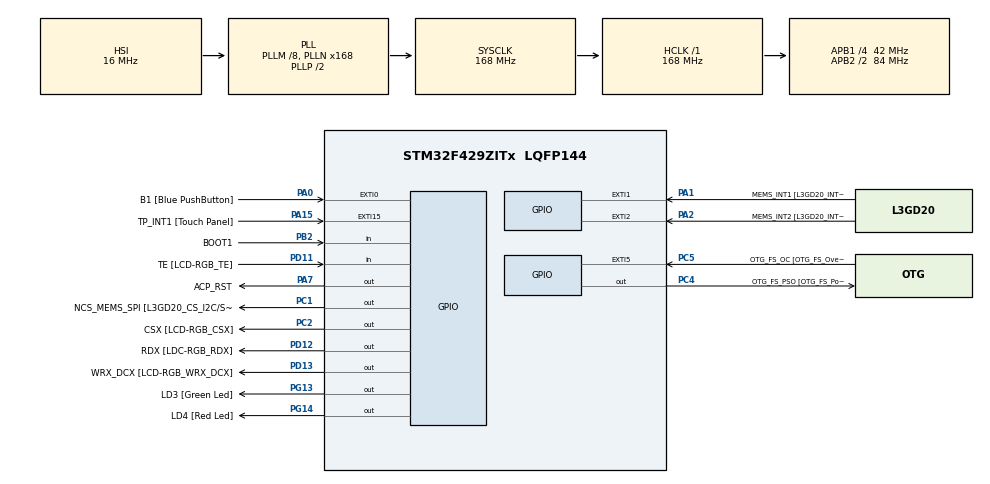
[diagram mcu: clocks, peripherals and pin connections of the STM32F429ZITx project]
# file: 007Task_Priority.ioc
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Mcu.Family=STM32F4
Mcu.Name=STM32F429ZITx
Mcu.Package=LQFP144
NVIC.EXTI0_IRQn=true\:6\:0\:true\:false\:true\:true\:true\:true
NVIC.PriorityGroup=NVIC_PRIORITYGROUP_4
NVIC.TIM6_DAC_IRQn=true\:15\:0\:false\:false\:true\:false\:true\:true
NVIC.TimeBase=TIM6_DAC_IRQn
NVIC.TimeBaseIP=TIM6
PA0/WKUP.GPIO_Label=B1 [Blue PushButton]
PA0/WKUP.GPIO_ModeDefaultEXTI=GPIO_MODE_IT_RISING
PA0/WKUP.GPIO_PuPd=GPIO_NOPULL
PA0/WKUP.Signal=GPXTI0
PA1.GPIO_Label=MEMS_INT1 [L3GD20_INT1]
PA1.GPIO_ModeDefaultEXTI=GPIO_MODE_EVT_RISING
PA1.GPIO_PuPd=GPIO_NOPULL
PA1.Signal=GPXTI1
PA10.GPIO_Label=STLINK_TX [STM32F103CBT6_PA2]
PA10.Signal=USART1_RX
PA11.GPIO_Label=R4
PA11.GPIO_Mode=GPIO_MODE_AF_PP
PA11.GPIO_PuPd=GPIO_NOPULL
PA11.GPIO_Speed=GPIO_SPEED_FREQ_LOW
PA11.Signal=LTDC_R4
PA12.GPIO_Label=R5
PA12.GPIO_Mode=GPIO_MODE_AF_PP
PA12.GPIO_PuPd=GPIO_NOPULL
PA12.GPIO_Speed=GPIO_SPEED_FREQ_LOW
PA12.Signal=LTDC_R5
PA13.GPIO_Label=SWDIO
PA13.Signal=SYS_JTMS-SWDIO
PA14.GPIO_Label=SWCLK
PA14.Signal=SYS_JTCK-SWCLK
PA15.GPIO_Label=TP_INT1 [Touch Panel]
PA15.GPIO_ModeDefaultEXTI=GPIO_MODE_EVT_RISING
PA15.GPIO_PuPd=GPIO_NOPULL
PA15.Signal=GPXTI15
PA2.GPIO_Label=MEMS_INT2 [L3GD20_INT2]
PA2.GPIO_ModeDefaultEXTI=GPIO_MODE_EVT_RISING
PA2.GPIO_PuPd=GPIO_NOPULL
PA2.Signal=GPXTI2
PA3.GPIO_Label=B5
PA3.GPIO_Mode=GPIO_MODE_AF_PP
PA3.GPIO_PuPd=GPIO_NOPULL
PA3.GPIO_Speed=GPIO_SPEED_FREQ_LOW
PA3.Signal=LTDC_B5
PA4.GPIO_Label=VSYNC
PA4.GPIO_Mode=GPIO_MODE_AF_PP
PA4.GPIO_PuPd=GPIO_NOPULL
PA4.GPIO_Speed=GPIO_SPEED_FREQ_LOW
PA4.Signal=LTDC_VSYNC
PA6.GPIO_Label=G2
PA6.GPIO_Mode=GPIO_MODE_AF_PP
PA6.GPIO_PuPd=GPIO_NOPULL
PA6.GPIO_Speed=GPIO_SPEED_FREQ_LOW
PA6.Signal=LTDC_G2
PA7.GPIO_Label=ACP_RST
PA7.GPIO_Mode=GPIO_MODE_OUTPUT_PP
PA7.GPIO_PuPd=GPIO_NOPULL
PA7.GPIO_Speed=GPIO_SPEED_FREQ_LOW
PA7.Signal=GPIO_Output
PA8.GPIO_Label=I2C3_SCL [ACP/RF_SCL]
PA8.GPIO_Mode=GPIO_MODE_AF_OD
PA8.GPIO_PuPd=GPIO_NOPULL
PA8.GPIO_Speed=GPIO_SPEED_FREQ_LOW
PA8.Signal=I2C3_SCL
PA9.GPIO_Label=STLINK_RX [STM32F103CBT6_PA3]
PA9.Signal=USART1_TX
PB0.GPIO_Label=R3
PB0.GPIO_Mode=GPIO_MODE_AF_PP
PB0.GPIO_PuPd=GPIO_NOPULL
PB0.GPIO_Speed=GPIO_SPEED_FREQ_LOW
PB0.Signal=LTDC_R3
PB1.GPIO_Label=R6
PB1.GPIO_Mode=GPIO_MODE_AF_PP
PB1.GPIO_PuPd=GPIO_NOPULL
PB1.GPIO_Speed=GPIO_SPEED_FREQ_LOW
PB1.Signal=LTDC_R6
PB10.GPIO_Label=G4
PB10.GPIO_Mode=GPIO_MODE_AF_PP
PB10.GPIO_PuPd=GPIO_NOPULL
PB10.GPIO_Speed=GPIO_SPEED_FREQ_LOW
PB10.Signal=LTDC_G4
PB11.GPIO_Label=G5
PB11.GPIO_Mode=GPIO_MODE_AF_PP
PB11.GPIO_PuPd=GPIO_NOPULL
PB11.GPIO_Speed=GPIO_SPEED_FREQ_LOW
PB11.Signal=LTDC_G5
PB12.GPIO_Label=OTG_HS_ID
PB12.GPIO_Mode=GPIO_MODE_AF_PP
PB12.GPIO_PuPd=GPIO_NOPULL
PB12.GPIO_Speed=GPIO_SPEED_FREQ_LOW
PB12.Signal=USB_OTG_HS_ID
PB13.GPIO_Label=VBUS_HS
PB13.GPIO_Mode=GPIO_MODE_INPUT
PB13.GPIO_PuPd=GPIO_NOPULL
PB13.Signal=USB_OTG_HS_VBUS
PB14.GPIO_Label=OTG_HS_DM
PB14.GPIO_Mode=GPIO_MODE_AF_PP
PB14.GPIO_PuPd=GPIO_NOPULL
PB14.GPIO_Speed=GPIO_SPEED_FREQ_LOW
PB14.Signal=USB_OTG_HS_DM
PB15.GPIO_Label=OTG_HS_DP
PB15.GPIO_Mode=GPIO_MODE_AF_PP
PB15.GPIO_PuPd=GPIO_NOPULL
PB15.GPIO_Speed=GPIO_SPEED_FREQ_LOW
PB15.Signal=USB_OTG_HS_DP
PB2/BOOT1.GPIO_Label=BOOT1
PB2/BOOT1.GPIO_Mode=GPIO_MODE_INPUT
PB2/BOOT1.GPIO_PuPd=GPIO_NOPULL
PB2/BOOT1.Signal=GPIO_Input
PB5.GPIO_Label=SDCKE1
PB5.GPIO_Mode=GPIO_MODE_AF_PP
PB5.GPIO_PuPd=GPIO_NOPULL
PB5.GPIO_Speed=GPIO_SPEED_FREQ_VERY_HIGH
PB5.Signal=FMC_SDCKE1
PB6.GPIO_Label=SDNE1 [SDRAM_CS]
PB6.GPIO_Mode=GPIO_MODE_AF_PP
PB6.GPIO_PuPd=GPIO_NOPULL
PB6.GPIO_Speed=GPIO_SPEED_FREQ_VERY_HIGH
PB6.Signal=FMC_SDNE1
PB8.GPIO_Label=B6
PB8.GPIO_Mode=GPIO_MODE_AF_PP
PB8.GPIO_PuPd=GPIO_NOPULL
PB8.GPIO_Speed=GPIO_SPEED_FREQ_LOW
PB8.Signal=LTDC_B6
PB9.GPIO_Label=B7
PB9.GPIO_Mode=GPIO_MODE_AF_PP
PB9.GPIO_PuPd=GPIO_NOPULL
PB9.GPIO_Speed=GPIO_SPEED_FREQ_LOW
PB9.Signal=LTDC_B7
PC0.GPIO_Label=SDNWE
PC0.GPIO_Mode=GPIO_MODE_AF_PP
PC0.GPIO_PuPd=GPIO_NOPULL
PC0.GPIO_Speed=GPIO_SPEED_FREQ_VERY_HIGH
PC0.Signal=FMC_SDNWE
PC1.GPIO_Label=NCS_MEMS_SPI [L3GD20_CS_I2C/SPI]
PC1.GPIO_Mode=GPIO_MODE_OUTPUT_PP
PC1.GPIO_PuPd=GPIO_NOPULL
PC1.GPIO_Speed=GPIO_SPEED_FREQ_LOW
PC1.Signal=GPIO_Output
PC10.GPIO_Label=R2
PC10.GPIO_Mode=GPIO_MODE_AF_PP
PC10.GPIO_PuPd=GPIO_NOPULL
PC10.GPIO_Speed=GPIO_SPEED_FREQ_LOW
PC10.Signal=LTDC_R2
PC14/OSC32_IN.GPIO_Label=PC14-OSC32_IN
PC14/OSC32_IN.Signal=RCC_OSC32_IN
PC15/OSC32_OUT.GPIO_Label=PC15-OSC32_OUT
PC15/OSC32_OUT.Signal=RCC_OSC32_OUT
PC2.GPIO_Label=CSX [LCD-RGB_CSX]
PC2.GPIO_Mode=GPIO_MODE_OUTPUT_PP
PC2.GPIO_PuPd=GPIO_NOPULL
PC2.GPIO_Speed=GPIO_SPEED_FREQ_LOW
PC2.Signal=GPIO_Output
PC4.GPIO_Label=OTG_FS_PSO [OTG_FS_PowerSwitchOn]
PC4.GPIO_Mode=GPIO_MODE_OUTPUT_PP
PC4.GPIO_PuPd=GPIO_NOPULL
PC4.GPIO_Speed=GPIO_SPEED_FREQ_LOW
PC4.Signal=GPIO_Output
PC5.GPIO_Label=OTG_FS_OC [OTG_FS_OverCurrent]
PC5.GPIO_ModeDefaultEXTI=GPIO_MODE_EVT_RISING
PC5.Signal=GPXTI5
PC6.GPIO_Label=HSYNC
PC6.GPIO_Mode=GPIO_MODE_AF_PP
PC6.GPIO_PuPd=GPIO_NOPULL
PC6.GPIO_Speed=GPIO_SPEED_FREQ_LOW
PC6.Signal=LTDC_HSYNC
PC7.GPIO_Label=G6
PC7.GPIO_Mode=GPIO_MODE_AF_PP
PC7.GPIO_PuPd=GPIO_NOPULL
PC7.GPIO_Speed=GPIO_SPEED_FREQ_LOW
PC7.Signal=LTDC_G6
PC9.GPIO_Label=I2C3_SDA [ACP/RF_SDA]
PC9.GPIO_Mode=GPIO_MODE_AF_OD
PC9.GPIO_PuPd=GPIO_NOPULL
PC9.GPIO_Speed=GPIO_SPEED_FREQ_LOW
PC9.Signal=I2C3_SDA
PD0.GPIO_Label=D2
PD0.GPIO_Mode=GPIO_MODE_AF_PP
PD0.GPIO_PuPd=GPIO_NOPULL
PD0.GPIO_Speed=GPIO_SPEED_FREQ_VERY_HIGH
PD0.Signal=FMC_D2_DA2
PD1.GPIO_Label=D3
PD1.GPIO_Mode=GPIO_MODE_AF_PP
PD1.GPIO_PuPd=GPIO_NOPULL
PD1.GPIO_Speed=GPIO_SPEED_FREQ_VERY_HIGH
PD1.Signal=FMC_D3_DA3
PD10.GPIO_Label=D15
PD10.GPIO_Mode=GPIO_MODE_AF_PP
PD10.GPIO_PuPd=GPIO_NOPULL
PD10.GPIO_Speed=GPIO_SPEED_FREQ_VERY_HIGH
PD10.Signal=FMC_D15_DA15
PD11.GPIO_Label=TE [LCD-RGB_TE]
PD11.GPIO_Mode=GPIO_MODE_INPUT
PD11.GPIO_PuPd=GPIO_NOPULL
PD11.Signal=GPIO_Input
PD12.GPIO_Label=RDX [LDC-RGB_RDX]
PD12.GPIO_Mode=GPIO_MODE_OUTPUT_PP
PD12.GPIO_PuPd=GPIO_NOPULL
PD12.GPIO_Speed=GPIO_SPEED_FREQ_LOW
PD12.Signal=GPIO_Output
PD13.GPIO_Label=WRX_DCX [LCD-RGB_WRX_DCX]
PD13.GPIO_Mode=GPIO_MODE_OUTPUT_PP
PD13.GPIO_PuPd=GPIO_NOPULL
PD13.GPIO_Speed=GPIO_SPEED_FREQ_LOW
PD13.Signal=GPIO_Output
PD14.GPIO_Label=D0
PD14.GPIO_Mode=GPIO_MODE_AF_PP
PD14.GPIO_PuPd=GPIO_NOPULL
PD14.GPIO_Speed=GPIO_SPEED_FREQ_VERY_HIGH
PD14.Signal=FMC_D0_DA0
PD15.GPIO_Label=D1
PD15.GPIO_Mode=GPIO_MODE_AF_PP
PD15.GPIO_PuPd=GPIO_NOPULL
PD15.GPIO_Speed=GPIO_SPEED_FREQ_VERY_HIGH
PD15.Signal=FMC_D1_DA1
PD3.GPIO_Label=G7
PD3.GPIO_Mode=GPIO_MODE_AF_PP
PD3.GPIO_PuPd=GPIO_NOPULL
PD3.GPIO_Speed=GPIO_SPEED_FREQ_LOW
PD3.Signal=LTDC_G7
PD6.GPIO_Label=B2
PD6.GPIO_Mode=GPIO_MODE_AF_PP
PD6.GPIO_PuPd=GPIO_NOPULL
PD6.GPIO_Speed=GPIO_SPEED_FREQ_LOW
PD6.Signal=LTDC_B2
PD8.GPIO_Label=D13
PD8.GPIO_Mode=GPIO_MODE_AF_PP
PD8.GPIO_PuPd=GPIO_NOPULL
PD8.GPIO_Speed=GPIO_SPEED_FREQ_VERY_HIGH
PD8.Signal=FMC_D13_DA13
PD9.GPIO_Label=D14
PD9.GPIO_Mode=GPIO_MODE_AF_PP
PD9.GPIO_PuPd=GPIO_NOPULL
PD9.GPIO_Speed=GPIO_SPEED_FREQ_VERY_HIGH
PD9.Signal=FMC_D14_DA14
PE0.GPIO_Label=NBL0 [SDRAM_LDQM]
PE0.GPIO_Mode=GPIO_MODE_AF_PP
PE0.GPIO_PuPd=GPIO_NOPULL
PE0.GPIO_Speed=GPIO_SPEED_FREQ_VERY_HIGH
PE0.Signal=FMC_NBL0
PE1.GPIO_Label=NBL1 [SDRAM_UDQM]
PE1.GPIO_Mode=GPIO_MODE_AF_PP
PE1.GPIO_PuPd=GPIO_NOPULL
PE1.GPIO_Speed=GPIO_SPEED_FREQ_VERY_HIGH
PE1.Signal=FMC_NBL1
PE10.GPIO_Label=D7
PE10.GPIO_Mode=GPIO_MODE_AF_PP
PE10.GPIO_PuPd=GPIO_NOPULL
PE10.GPIO_Speed=GPIO_SPEED_FREQ_VERY_HIGH
PE10.Signal=FMC_D7_DA7
PE11.GPIO_Label=D8
PE11.GPIO_Mode=GPIO_MODE_AF_PP
PE11.GPIO_PuPd=GPIO_NOPULL
PE11.GPIO_Speed=GPIO_SPEED_FREQ_VERY_HIGH
PE11.Signal=FMC_D8_DA8
PE12.GPIO_Label=D9
PE12.GPIO_Mode=GPIO_MODE_AF_PP
PE12.GPIO_PuPd=GPIO_NOPULL
PE12.GPIO_Speed=GPIO_SPEED_FREQ_VERY_HIGH
PE12.Signal=FMC_D9_DA9
PE13.GPIO_Label=D10
PE13.GPIO_Mode=GPIO_MODE_AF_PP
PE13.GPIO_PuPd=GPIO_NOPULL
PE13.GPIO_Speed=GPIO_SPEED_FREQ_VERY_HIGH
PE13.Signal=FMC_D10_DA10
PE14.GPIO_Label=D11
PE14.GPIO_Mode=GPIO_MODE_AF_PP
PE14.GPIO_PuPd=GPIO_NOPULL
PE14.GPIO_Speed=GPIO_SPEED_FREQ_VERY_HIGH
PE14.Signal=FMC_D11_DA11
PE15.GPIO_Label=D12
PE15.GPIO_Mode=GPIO_MODE_AF_PP
PE15.GPIO_PuPd=GPIO_NOPULL
PE15.GPIO_Speed=GPIO_SPEED_FREQ_VERY_HIGH
PE15.Signal=FMC_D12_DA12
PE7.GPIO_Label=D4
PE7.GPIO_Mode=GPIO_MODE_AF_PP
PE7.GPIO_PuPd=GPIO_NOPULL
PE7.GPIO_Speed=GPIO_SPEED_FREQ_VERY_HIGH
PE7.Signal=FMC_D4_DA4
PE8.GPIO_Label=D5
PE8.GPIO_Mode=GPIO_MODE_AF_PP
PE8.GPIO_PuPd=GPIO_NOPULL
PE8.GPIO_Speed=GPIO_SPEED_FREQ_VERY_HIGH
PE8.Signal=FMC_D5_DA5
PE9.GPIO_Label=D6
PE9.GPIO_Mode=GPIO_MODE_AF_PP
PE9.GPIO_PuPd=GPIO_NOPULL
PE9.GPIO_Speed=GPIO_SPEED_FREQ_VERY_HIGH
PE9.Signal=FMC_D6_DA6
PF0.GPIO_Label=A0
PF0.GPIO_Mode=GPIO_MODE_AF_PP
PF0.GPIO_PuPd=GPIO_NOPULL
PF0.GPIO_Speed=GPIO_SPEED_FREQ_VERY_HIGH
PF0.Signal=FMC_A0
PF1.GPIO_Label=A1
PF1.GPIO_Mode=GPIO_MODE_AF_PP
PF1.GPIO_PuPd=GPIO_NOPULL
PF1.GPIO_Speed=GPIO_SPEED_FREQ_VERY_HIGH
PF1.Signal=FMC_A1
PF10.GPIO_Label=ENABLE [LCD-RGB_ENABLE]
PF10.GPIO_Mode=GPIO_MODE_AF_PP
PF10.GPIO_PuPd=GPIO_NOPULL
PF10.GPIO_Speed=GPIO_SPEED_FREQ_LOW
PF10.Signal=LTDC_DE
PF11.GPIO_Label=SDNRAS
PF11.GPIO_Mode=GPIO_MODE_AF_PP
PF11.GPIO_PuPd=GPIO_NOPULL
PF11.GPIO_Speed=GPIO_SPEED_FREQ_VERY_HIGH
PF11.Signal=FMC_SDNRAS
PF12.GPIO_Label=A6
PF12.GPIO_Mode=GPIO_MODE_AF_PP
PF12.GPIO_PuPd=GPIO_NOPULL
PF12.GPIO_Speed=GPIO_SPEED_FREQ_VERY_HIGH
PF12.Signal=FMC_A6
PF13.GPIO_Label=A7
PF13.GPIO_Mode=GPIO_MODE_AF_PP
PF13.GPIO_PuPd=GPIO_NOPULL
PF13.GPIO_Speed=GPIO_SPEED_FREQ_VERY_HIGH
PF13.Signal=FMC_A7
PF14.GPIO_Label=A8
PF14.GPIO_Mode=GPIO_MODE_AF_PP
PF14.GPIO_PuPd=GPIO_NOPULL
PF14.GPIO_Speed=GPIO_SPEED_FREQ_VERY_HIGH
PF14.Signal=FMC_A8
PF15.GPIO_Label=A9
PF15.GPIO_Mode=GPIO_MODE_AF_PP
PF15.GPIO_PuPd=GPIO_NOPULL
PF15.GPIO_Speed=GPIO_SPEED_FREQ_VERY_HIGH
PF15.Signal=FMC_A9
PF2.GPIO_Label=A2
PF2.GPIO_Mode=GPIO_MODE_AF_PP
PF2.GPIO_PuPd=GPIO_NOPULL
PF2.GPIO_Speed=GPIO_SPEED_FREQ_VERY_HIGH
PF2.Signal=FMC_A2
PF3.GPIO_Label=A3
PF3.GPIO_Mode=GPIO_MODE_AF_PP
PF3.GPIO_PuPd=GPIO_NOPULL
PF3.GPIO_Speed=GPIO_SPEED_FREQ_VERY_HIGH
PF3.Signal=FMC_A3
PF4.GPIO_Label=A4
PF4.GPIO_Mode=GPIO_MODE_AF_PP
PF4.GPIO_PuPd=GPIO_NOPULL
PF4.GPIO_Speed=GPIO_SPEED_FREQ_VERY_HIGH
PF4.Signal=FMC_A4
PF5.GPIO_Label=A5
PF5.GPIO_Mode=GPIO_MODE_AF_PP
PF5.GPIO_PuPd=GPIO_NOPULL
PF5.GPIO_Speed=GPIO_SPEED_FREQ_VERY_HIGH
PF5.Signal=FMC_A5
PF7.GPIO_Label=SPI5_SCK [L3GD20_SCL/SPC]
PF7.GPIO_Mode=GPIO_MODE_AF_PP
PF7.GPIO_PuPd=GPIO_NOPULL
PF7.GPIO_Speed=GPIO_SPEED_FREQ_LOW
PF7.Signal=SPI5_SCK
PF8.GPIO_Label=SPI5_MISO [L3GD20_SDO]
PF8.GPIO_Mode=GPIO_MODE_AF_PP
PF8.GPIO_PuPd=GPIO_NOPULL
PF8.GPIO_Speed=GPIO_SPEED_FREQ_LOW
PF8.Signal=SPI5_MISO
PF9.GPIO_Label=SPI5_MOSI [L3GD20_SDA/SDI/SDO]
PF9.GPIO_Mode=GPIO_MODE_AF_PP
PF9.GPIO_PuPd=GPIO_NOPULL
PF9.GPIO_Speed=GPIO_SPEED_FREQ_LOW
PF9.Signal=SPI5_MOSI
PG0.GPIO_Label=A10
PG0.GPIO_Mode=GPIO_MODE_AF_PP
PG0.GPIO_PuPd=GPIO_NOPULL
PG0.GPIO_Speed=GPIO_SPEED_FREQ_VERY_HIGH
PG0.Signal=FMC_A10
PG1.GPIO_Label=A11
PG1.GPIO_Mode=GPIO_MODE_AF_PP
PG1.GPIO_PuPd=GPIO_NOPULL
PG1.GPIO_Speed=GPIO_SPEED_FREQ_VERY_HIGH
PG1.Signal=FMC_A11
PG10.GPIO_Label=G3
PG10.GPIO_Mode=GPIO_MODE_AF_PP
PG10.GPIO_PuPd=GPIO_NOPULL
PG10.GPIO_Speed=GPIO_SPEED_FREQ_LOW
PG10.Signal=LTDC_G3
PG11.GPIO_Label=B3
PG11.GPIO_Mode=GPIO_MODE_AF_PP
PG11.GPIO_PuPd=GPIO_NOPULL
PG11.GPIO_Speed=GPIO_SPEED_FREQ_LOW
PG11.Signal=LTDC_B3
PG12.GPIO_Label=B4
PG12.GPIO_Mode=GPIO_MODE_AF_PP
PG12.GPIO_PuPd=GPIO_NOPULL
PG12.GPIO_Speed=GPIO_SPEED_FREQ_LOW
PG12.Signal=LTDC_B4
PG13.GPIO_Label=LD3 [Green Led]
PG13.GPIO_Mode=GPIO_MODE_OUTPUT_PP
PG13.GPIO_PuPd=GPIO_NOPULL
PG13.GPIO_Speed=GPIO_SPEED_FREQ_LOW
PG13.Signal=GPIO_Output
PG14.GPIO_Label=LD4 [Red Led]
PG14.GPIO_Mode=GPIO_MODE_OUTPUT_PP
PG14.GPIO_PuPd=GPIO_NOPULL
PG14.GPIO_Speed=GPIO_SPEED_FREQ_LOW
PG14.Signal=GPIO_Output
PG15.GPIO_Label=SDNCAS
PG15.GPIO_Mode=GPIO_MODE_AF_PP
PG15.GPIO_PuPd=GPIO_NOPULL
PG15.GPIO_Speed=GPIO_SPEED_FREQ_VERY_HIGH
PG15.Signal=FMC_SDNCAS
PG4.GPIO_Label=BA0
PG4.GPIO_Mode=GPIO_MODE_AF_PP
PG4.GPIO_PuPd=GPIO_NOPULL
PG4.GPIO_Speed=GPIO_SPEED_FREQ_VERY_HIGH
PG4.Signal=FMC_A14_BA0
PG5.GPIO_Label=BA1
PG5.GPIO_Mode=GPIO_MODE_AF_PP
PG5.GPIO_PuPd=GPIO_NOPULL
PG5.GPIO_Speed=GPIO_SPEED_FREQ_VERY_HIGH
PG5.Signal=FMC_A15_BA1
PG6.GPIO_Label=R7
PG6.GPIO_Mode=GPIO_MODE_AF_PP
PG6.GPIO_PuPd=GPIO_NOPULL
PG6.GPIO_Speed=GPIO_SPEED_FREQ_LOW
PG6.Signal=LTDC_R7
PG7.GPIO_Label=DOTCLK [LCT-RGB_DOTCLK]
PG7.GPIO_Mode=GPIO_MODE_AF_PP
PG7.GPIO_PuPd=GPIO_NOPULL
PG7.GPIO_Speed=GPIO_SPEED_FREQ_LOW
PG7.Signal=LTDC_CLK
PG8.GPIO_Label=SDCLK
PG8.GPIO_Mode=GPIO_MODE_AF_PP
PG8.GPIO_PuPd=GPIO_NOPULL
PG8.GPIO_Speed=GPIO_SPEED_FREQ_VERY_HIGH
PG8.Signal=FMC_SDCLK
PH0/OSC_IN.GPIO_Label=PH0-OSC_IN
PH0/OSC_IN.Signal=RCC_OSC_IN
PH1/OSC_OUT.GPIO_Label=PH1-OSC_OUT
PH1/OSC_OUT.Signal=RCC_OSC_OUT
ProjectManager.HeapSize=0x200
ProjectManager.StackSize=0x400
ProjectManager.TargetToolchain=STM32CubeIDE
RCC.48MHZClocksFreq_Value=48000000
RCC.AHBFreq_Value=168000000
RCC.APB1CLKDivider=RCC_HCLK_DIV4
RCC.APB1Freq_Value=42000000
RCC.APB1TimFreq_Value=84000000
RCC.APB2CLKDivider=RCC_HCLK_DIV2
RCC.APB2Freq_Value=84000000
RCC.APB2TimFreq_Value=168000000
RCC.CortexFreq_Value=168000000
RCC.HCLKFreq_Value=168000000
RCC.HSE_VALUE=8000000
RCC.HSI_VALUE=16000000
RCC.LSE_VALUE=32768
RCC.PLLM=8
RCC.PLLN=168
RCC.PLLQ=7
RCC.SYSCLKFreq_VALUE=168000000
RCC.SYSCLKSource=RCC_SYSCLKSOURCE_PLLCLK
RCC.VCOOutputFreq_Value=336000000
SH.FMC_A0.0=FMC_A0
SH.FMC_A1.0=FMC_A1
SH.FMC_A10.0=FMC_A10
SH.FMC_A11.0=FMC_A11
SH.FMC_A14_BA0.0=FMC_BA0
SH.FMC_A15_BA1.0=FMC_BA1
SH.FMC_A2.0=FMC_A2
SH.FMC_A3.0=FMC_A3
SH.FMC_A4.0=FMC_A4
SH.FMC_A5.0=FMC_A5
SH.FMC_A6.0=FMC_A6
SH.FMC_A7.0=FMC_A7
SH.FMC_A8.0=FMC_A8
SH.FMC_A9.0=FMC_A9
SH.FMC_D0_DA0.0=FMC_D0
SH.FMC_D10_DA10.0=FMC_D10
SH.FMC_D11_DA11.0=FMC_D11
SH.FMC_D12_DA12.0=FMC_D12
SH.FMC_D13_DA13.0=FMC_D13
SH.FMC_D14_DA14.0=FMC_D14
SH.FMC_D15_DA15.0=FMC_D15
SH.FMC_D1_DA1.0=FMC_D1
SH.FMC_D2_DA2.0=FMC_D2
SH.FMC_D3_DA3.0=FMC_D3
SH.FMC_D4_DA4.0=FMC_D4
SH.FMC_D5_DA5.0=FMC_D5
SH.FMC_D6_DA6.0=FMC_D6
SH.FMC_D7_DA7.0=FMC_D7
SH.FMC_D8_DA8.0=FMC_D8
SH.FMC_D9_DA9.0=FMC_D9
SH.FMC_NBL0.0=FMC_NBL0
SH.FMC_NBL1.0=FMC_NBL1
SH.FMC_SDCLK.0=FMC_SDCLK
SH.FMC_SDNCAS.0=FMC_SDNCAS
SH.FMC_SDNRAS.0=FMC_SDNRAS
SH.FMC_SDNWE.0=FMC_SDNWE
VP_SYS_VS_tim6.Mode=TIM6
board=STM32F429I-DISC1

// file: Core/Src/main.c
/* USER CODE BEGIN Header */
/**
  ******************************************************************************
  * @file           : main.c
  * @brief          : Main program body
  ******************************************************************************
  * @attention
  *
  * Copyright (c) 2024 STMicroelectronics.
  * All rights reserved.
  *
  * This software is licensed under terms that can be found in the LICENSE file
  * in the root directory of this software component.
  * If no LICENSE file comes with this software, it is provided AS-IS.
  *
  ******************************************************************************
  */
/* USER CODE END Header */
#include "main.h"

/* USER CODE BEGIN Includes */
#include <stdio.h>
#include "FreeRTOS.h"
#include "task.h"
#include "string.h"
#include "limits.h"
#include "SEGGER_SYSVIEW_FreeRTOS.h"

/* USER CODE END Includes */

/* USER CODE BEGIN PD */

const char *pcRedLedHandleName = "red_led_task";
const char *pcGreenLedHandleName = "green_led_task";

/* USER CODE END PD */

/* USER CODE BEGIN PV */

#define DWT_CTRL (volatile uint32_t*)0xE0001000

/* USER CODE END PV */

void SystemClock_Config(void);
static void MX_GPIO_Init(void);
/* USER CODE BEGIN PFP */

static void red_led_handler(void *pvParam);
static void green_led_handler(void *pvParam);
static void switch_priority(void);

void button_irq_handler(void);

extern void SEGGER_UART_init(U32 baud);

/* USER CODE END PFP */

/* USER CODE BEGIN 0 */
static TaskHandle_t xRedLedTaskHandle = NULL;
static TaskHandle_t xGreenLedTaskHandle = NULL;
static uint8_t button_pressed = 0;
/* USER CODE END 0 */

int main(void)
{
  /* USER CODE BEGIN 1 */

	BaseType_t xReturned = 0;
//	TaskHandle_t xNotifyTaskHandle = NULL, xNotifyWaitTaskHandle = NULL;

  /* USER CODE END 1 */

  /* MCU Configuration--------------------------------------------------------*/

  /* Reset of all peripherals, Initializes the Flash interface and the Systick. */
  HAL_Init();

  /* Configure the system clock */
  SystemClock_Config();

  /* Initialize all configured peripherals */
  MX_GPIO_Init();
  /* USER CODE BEGIN 2 */

  // enable the CYCCNT counter
  *DWT_CTRL |= (1 << 0);

  // enable usart
  SEGGER_UART_init(500000);

  // start segger recording
  SEGGER_SYSVIEW_Conf();

  xReturned = xTaskCreate(red_led_handler, pcRedLedHandleName, 200, NULL, 2, &xRedLedTaskHandle);
  configASSERT(pdPASS == xReturned);

  xReturned = xTaskCreate(green_led_handler, pcGreenLedHandleName, 200, NULL, 3, &xGreenLedTaskHandle);
  configASSERT(pdPASS == xReturned);

  // start the scheduler
  vTaskStartScheduler();

  /* USER CODE END 2 */

  /* Infinite loop */
  while (1)
  {

  }
}

void SystemClock_Config(void)
{
  RCC_OscInitTypeDef RCC_OscInitStruct = {0};
  RCC_ClkInitTypeDef RCC_ClkInitStruct = {0};

  /** Configure the main internal regulator output voltage
  */
  __HAL_RCC_PWR_CLK_ENABLE();
  __HAL_PWR_VOLTAGESCALING_CONFIG(PWR_REGULATOR_VOLTAGE_SCALE1);

  /** Initializes the RCC Oscillators according to the specified parameters
  * in the RCC_OscInitTypeDef structure.
  */
  RCC_OscInitStruct.OscillatorType = RCC_OSCILLATORTYPE_HSI;
  RCC_OscInitStruct.HSIState = RCC_HSI_ON;
  RCC_OscInitStruct.HSICalibrationValue = RCC_HSICALIBRATION_DEFAULT;
  RCC_OscInitStruct.PLL.PLLState = RCC_PLL_ON;
  RCC_OscInitStruct.PLL.PLLSource = RCC_PLLSOURCE_HSI;
  RCC_OscInitStruct.PLL.PLLM = 8;
  RCC_OscInitStruct.PLL.PLLN = 168;
  RCC_OscInitStruct.PLL.PLLP = RCC_PLLP_DIV2;
  RCC_OscInitStruct.PLL.PLLQ = 7;
  if (HAL_RCC_OscConfig(&RCC_OscInitStruct) != HAL_OK)
  {
    Error_Handler();
  }

  /** Initializes the CPU, AHB and APB buses clocks
  */
  RCC_ClkInitStruct.ClockType = RCC_CLOCKTYPE_HCLK|RCC_CLOCKTYPE_SYSCLK
                              |RCC_CLOCKTYPE_PCLK1|RCC_CLOCKTYPE_PCLK2;
  RCC_ClkInitStruct.SYSCLKSource = RCC_SYSCLKSOURCE_PLLCLK;
  RCC_ClkInitStruct.AHBCLKDivider = RCC_SYSCLK_DIV1;
  RCC_ClkInitStruct.APB1CLKDivider = RCC_HCLK_DIV4;
  RCC_ClkInitStruct.APB2CLKDivider = RCC_HCLK_DIV2;

  if (HAL_RCC_ClockConfig(&RCC_ClkInitStruct, FLASH_LATENCY_5) != HAL_OK)
  {
    Error_Handler();
  }
}

static void MX_GPIO_Init(void)
{
  GPIO_InitTypeDef GPIO_InitStruct = {0};

  /* GPIO Ports Clock Enable */
  __HAL_RCC_GPIOC_CLK_ENABLE();
  __HAL_RCC_GPIOF_CLK_ENABLE();
  __HAL_RCC_GPIOH_CLK_ENABLE();
  __HAL_RCC_GPIOA_CLK_ENABLE();
  __HAL_RCC_GPIOB_CLK_ENABLE();
  __HAL_RCC_GPIOG_CLK_ENABLE();
  __HAL_RCC_GPIOE_CLK_ENABLE();
  __HAL_RCC_GPIOD_CLK_ENABLE();

  /*Configure GPIO pin Output Level */
  HAL_GPIO_WritePin(GPIOC, NCS_MEMS_SPI_Pin|CSX_Pin|OTG_FS_PSO_Pin, GPIO_PIN_RESET);

  /*Configure GPIO pin Output Level */
  HAL_GPIO_WritePin(ACP_RST_GPIO_Port, ACP_RST_Pin, GPIO_PIN_RESET);

  /*Configure GPIO pin Output Level */
  HAL_GPIO_WritePin(GPIOD, RDX_Pin|WRX_DCX_Pin, GPIO_PIN_RESET);

  /*Configure GPIO pin Output Level */
  HAL_GPIO_WritePin(GPIOG, LD3_Pin|LD4_Pin, GPIO_PIN_RESET);

  /*Configure GPIO pins : A0_Pin A1_Pin A2_Pin A3_Pin
                           A4_Pin A5_Pin SDNRAS_Pin A6_Pin
                           A7_Pin A8_Pin A9_Pin */
  GPIO_InitStruct.Pin = A0_Pin|A1_Pin|A2_Pin|A3_Pin
                          |A4_Pin|A5_Pin|SDNRAS_Pin|A6_Pin
                          |A7_Pin|A8_Pin|A9_Pin;
  GPIO_InitStruct.Mode = GPIO_MODE_AF_PP;
  GPIO_InitStruct.Pull = GPIO_NOPULL;
  GPIO_InitStruct.Speed = GPIO_SPEED_FREQ_VERY_HIGH;
  GPIO_InitStruct.Alternate = GPIO_AF12_FMC;
  HAL_GPIO_Init(GPIOF, &GPIO_InitStruct);

  /*Configure GPIO pins : SPI5_SCK_Pin SPI5_MISO_Pin SPI5_MOSI_Pin */
  GPIO_InitStruct.Pin = SPI5_SCK_Pin|SPI5_MISO_Pin|SPI5_MOSI_Pin;
  GPIO_InitStruct.Mode = GPIO_MODE_AF_PP;
  GPIO_InitStruct.Pull = GPIO_NOPULL;
  GPIO_InitStruct.Speed = GPIO_SPEED_FREQ_LOW;
  GPIO_InitStruct.Alternate = GPIO_AF5_SPI5;
  HAL_GPIO_Init(GPIOF, &GPIO_InitStruct);

  /*Configure GPIO pin : ENABLE_Pin */
  GPIO_InitStruct.Pin = ENABLE_Pin;
  GPIO_InitStruct.Mode = GPIO_MODE_AF_PP;
  GPIO_InitStruct.Pull = GPIO_NOPULL;
  GPIO_InitStruct.Speed = GPIO_SPEED_FREQ_LOW;
  GPIO_InitStruct.Alternate = GPIO_AF14_LTDC;
  HAL_GPIO_Init(ENABLE_GPIO_Port, &GPIO_InitStruct);

  /*Configure GPIO pin : SDNWE_Pin */
  GPIO_InitStruct.Pin = SDNWE_Pin;
  GPIO_InitStruct.Mode = GPIO_MODE_AF_PP;
  GPIO_InitStruct.Pull = GPIO_NOPULL;
  GPIO_InitStruct.Speed = GPIO_SPEED_FREQ_VERY_HIGH;
  GPIO_InitStruct.Alternate = GPIO_AF12_FMC;
  HAL_GPIO_Init(SDNWE_GPIO_Port, &GPIO_InitStruct);

  /*Configure GPIO pins : NCS_MEMS_SPI_Pin CSX_Pin OTG_FS_PSO_Pin */
  GPIO_InitStruct.Pin = NCS_MEMS_SPI_Pin|CSX_Pin|OTG_FS_PSO_Pin;
  GPIO_InitStruct.Mode = GPIO_MODE_OUTPUT_PP;
  GPIO_InitStruct.Pull = GPIO_NOPULL;
  GPIO_InitStruct.Speed = GPIO_SPEED_FREQ_LOW;
  HAL_GPIO_Init(GPIOC, &GPIO_InitStruct);

  /*Configure GPIO pin : B1_Pin */
  GPIO_InitStruct.Pin = B1_Pin;
  GPIO_InitStruct.Mode = GPIO_MODE_IT_RISING;
  GPIO_InitStruct.Pull = GPIO_NOPULL;
  HAL_GPIO_Init(B1_GPIO_Port, &GPIO_InitStruct);

  /*Configure GPIO pins : MEMS_INT1_Pin MEMS_INT2_Pin TP_INT1_Pin */
  GPIO_InitStruct.Pin = MEMS_INT1_Pin|MEMS_INT2_Pin|TP_INT1_Pin;
  GPIO_InitStruct.Mode = GPIO_MODE_EVT_RISING;
  GPIO_InitStruct.Pull = GPIO_NOPULL;
  HAL_GPIO_Init(GPIOA, &GPIO_InitStruct);

  /*Configure GPIO pins : B5_Pin VSYNC_Pin G2_Pin R4_Pin
                           R5_Pin */
  GPIO_InitStruct.Pin = B5_Pin|VSYNC_Pin|G2_Pin|R4_Pin
                          |R5_Pin;
  GPIO_InitStruct.Mode = GPIO_MODE_AF_PP;
  GPIO_InitStruct.Pull = GPIO_NOPULL;
  GPIO_InitStruct.Speed = GPIO_SPEED_FREQ_LOW;
  GPIO_InitStruct.Alternate = GPIO_AF14_LTDC;
  HAL_GPIO_Init(GPIOA, &GPIO_InitStruct);

  /*Configure GPIO pin : ACP_RST_Pin */
  GPIO_InitStruct.Pin = ACP_RST_Pin;
  GPIO_InitStruct.Mode = GPIO_MODE_OUTPUT_PP;
  GPIO_InitStruct.Pull = GPIO_NOPULL;
  GPIO_InitStruct.Speed = GPIO_SPEED_FREQ_LOW;
  HAL_GPIO_Init(ACP_RST_GPIO_Port, &GPIO_InitStruct);

  /*Configure GPIO pin : OTG_FS_OC_Pin */
  GPIO_InitStruct.Pin = OTG_FS_OC_Pin;
  GPIO_InitStruct.Mode = GPIO_MODE_EVT_RISING;
  GPIO_InitStruct.Pull = GPIO_NOPULL;
  HAL_GPIO_Init(OTG_FS_OC_GPIO_Port, &GPIO_InitStruct);

  /*Configure GPIO pins : R3_Pin R6_Pin */
  GPIO_InitStruct.Pin = R3_Pin|R6_Pin;
  GPIO_InitStruct.Mode = GPIO_MODE_AF_PP;
  GPIO_InitStruct.Pull = GPIO_NOPULL;
  GPIO_InitStruct.Speed = GPIO_SPEED_FREQ_LOW;
  GPIO_InitStruct.Alternate = GPIO_AF9_LTDC;
  HAL_GPIO_Init(GPIOB, &GPIO_InitStruct);

  /*Configure GPIO pin : BOOT1_Pin */
  GPIO_InitStruct.Pin = BOOT1_Pin;
  GPIO_InitStruct.Mode = GPIO_MODE_INPUT;
  GPIO_InitStruct.Pull = GPIO_NOPULL;
  HAL_GPIO_Init(BOOT1_GPIO_Port, &GPIO_InitStruct);

  /*Configure GPIO pins : A10_Pin A11_Pin BA0_Pin BA1_Pin
                           SDCLK_Pin SDNCAS_Pin */
  GPIO_InitStruct.Pin = A10_Pin|A11_Pin|BA0_Pin|BA1_Pin
                          |SDCLK_Pin|SDNCAS_Pin;
  GPIO_InitStruct.Mode = GPIO_MODE_AF_PP;
  GPIO_InitStruct.Pull = GPIO_NOPULL;
  GPIO_InitStruct.Speed = GPIO_SPEED_FREQ_VERY_HIGH;
  GPIO_InitStruct.Alternate = GPIO_AF12_FMC;
  HAL_GPIO_Init(GPIOG, &GPIO_InitStruct);

  /*Configure GPIO pins : D4_Pin D5_Pin D6_Pin D7_Pin
                           D8_Pin D9_Pin D10_Pin D11_Pin
                           D12_Pin NBL0_Pin NBL1_Pin */
  GPIO_InitStruct.Pin = D4_Pin|D5_Pin|D6_Pin|D7_Pin
                          |D8_Pin|D9_Pin|D10_Pin|D11_Pin
                          |D12_Pin|NBL0_Pin|NBL1_Pin;
  GPIO_InitStruct.Mode = GPIO_MODE_AF_PP;
  GPIO_InitStruct.Pull = GPIO_NOPULL;
  GPIO_InitStruct.Speed = GPIO_SPEED_FREQ_VERY_HIGH;
  GPIO_InitStruct.Alternate = GPIO_AF12_FMC;
  HAL_GPIO_Init(GPIOE, &GPIO_InitStruct);

  /*Configure GPIO pins : G4_Pin G5_Pin B6_Pin B7_Pin */
  GPIO_InitStruct.Pin = G4_Pin|G5_Pin|B6_Pin|B7_Pin;
  GPIO_InitStruct.Mode = GPIO_MODE_AF_PP;
  GPIO_InitStruct.Pull = GPIO_NOPULL;
  GPIO_InitStruct.Speed = GPIO_SPEED_FREQ_LOW;
  GPIO_InitStruct.Alternate = GPIO_AF14_LTDC;
  HAL_GPIO_Init(GPIOB, &GPIO_InitStruct);

  /*Configure GPIO pins : OTG_HS_ID_Pin OTG_HS_DM_Pin OTG_HS_DP_Pin */
  GPIO_InitStruct.Pin = OTG_HS_ID_Pin|OTG_HS_DM_Pin|OTG_HS_DP_Pin;
  GPIO_InitStruct.Mode = GPIO_MODE_AF_PP;
  GPIO_InitStruct.Pull = GPIO_NOPULL;
  GPIO_InitStruct.Speed = GPIO_SPEED_FREQ_LOW;
  GPIO_InitStruct.Alternate = GPIO_AF12_OTG_HS_FS;
  HAL_GPIO_Init(GPIOB, &GPIO_InitStruct);

  /*Configure GPIO pin : VBUS_HS_Pin */
  GPIO_InitStruct.Pin = VBUS_HS_Pin;
  GPIO_InitStruct.Mode = GPIO_MODE_INPUT;
  GPIO_InitStruct.Pull = GPIO_NOPULL;
  HAL_GPIO_Init(VBUS_HS_GPIO_Port, &GPIO_InitStruct);

  /*Configure GPIO pins : D13_Pin D14_Pin D15_Pin D0_Pin
                           D1_Pin D2_Pin D3_Pin */
  GPIO_InitStruct.Pin = D13_Pin|D14_Pin|D15_Pin|D0_Pin
                          |D1_Pin|D2_Pin|D3_Pin;
  GPIO_InitStruct.Mode = GPIO_MODE_AF_PP;
  GPIO_InitStruct.Pull = GPIO_NOPULL;
  GPIO_InitStruct.Speed = GPIO_SPEED_FREQ_VERY_HIGH;
  GPIO_InitStruct.Alternate = GPIO_AF12_FMC;
  HAL_GPIO_Init(GPIOD, &GPIO_InitStruct);

  /*Configure GPIO pin : TE_Pin */
  GPIO_InitStruct.Pin = TE_Pin;
  GPIO_InitStruct.Mode = GPIO_MODE_INPUT;
  GPIO_InitStruct.Pull = GPIO_NOPULL;
  HAL_GPIO_Init(TE_GPIO_Port, &GPIO_InitStruct);

  /*Configure GPIO pins : RDX_Pin WRX_DCX_Pin */
  GPIO_InitStruct.Pin = RDX_Pin|WRX_DCX_Pin;
  GPIO_InitStruct.Mode = GPIO_MODE_OUTPUT_PP;
  GPIO_InitStruct.Pull = GPIO_NOPULL;
  GPIO_InitStruct.Speed = GPIO_SPEED_FREQ_LOW;
  HAL_GPIO_Init(GPIOD, &GPIO_InitStruct);

  /*Configure GPIO pins : R7_Pin DOTCLK_Pin B3_Pin */
  GPIO_InitStruct.Pin = R7_Pin|DOTCLK_Pin|B3_Pin;
  GPIO_InitStruct.Mode = GPIO_MODE_AF_PP;
  GPIO_InitStruct.Pull = GPIO_NOPULL;
  GPIO_InitStruct.Speed = GPIO_SPEED_FREQ_LOW;
  GPIO_InitStruct.Alternate = GPIO_AF14_LTDC;
  HAL_GPIO_Init(GPIOG, &GPIO_InitStruct);

  /*Configure GPIO pins : HSYNC_Pin G6_Pin R2_Pin */
  GPIO_InitStruct.Pin = HSYNC_Pin|G6_Pin|R2_Pin;
  GPIO_InitStruct.Mode = GPIO_MODE_AF_PP;
  GPIO_InitStruct.Pull = GPIO_NOPULL;
  GPIO_InitStruct.Speed = GPIO_SPEED_FREQ_LOW;
  GPIO_InitStruct.Alternate = GPIO_AF14_LTDC;
  HAL_GPIO_Init(GPIOC, &GPIO_InitStruct);

  /*Configure GPIO pin : I2C3_SDA_Pin */
  GPIO_InitStruct.Pin = I2C3_SDA_Pin;
  GPIO_InitStruct.Mode = GPIO_MODE_AF_OD;
  GPIO_InitStruct.Pull = GPIO_NOPULL;
  GPIO_InitStruct.Speed = GPIO_SPEED_FREQ_LOW;
  GPIO_InitStruct.Alternate = GPIO_AF4_I2C3;
  HAL_GPIO_Init(I2C3_SDA_GPIO_Port, &GPIO_InitStruct);

  /*Configure GPIO pin : I2C3_SCL_Pin */
  GPIO_InitStruct.Pin = I2C3_SCL_Pin;
  GPIO_InitStruct.Mode = GPIO_MODE_AF_OD;
  GPIO_InitStruct.Pull = GPIO_NOPULL;
  GPIO_InitStruct.Speed = GPIO_SPEED_FREQ_LOW;
  GPIO_InitStruct.Alternate = GPIO_AF4_I2C3;
  HAL_GPIO_Init(I2C3_SCL_GPIO_Port, &GPIO_InitStruct);

  /*Configure GPIO pins : STLINK_RX_Pin STLINK_TX_Pin */
  GPIO_InitStruct.Pin = STLINK_RX_Pin|STLINK_TX_Pin;
  GPIO_InitStruct.Mode = GPIO_MODE_AF_PP;
  GPIO_InitStruct.Pull = GPIO_NOPULL;
  GPIO_InitStruct.Speed = GPIO_SPEED_FREQ_VERY_HIGH;
  GPIO_InitStruct.Alternate = GPIO_AF7_USART1;
  HAL_GPIO_Init(GPIOA, &GPIO_InitStruct);

  /*Configure GPIO pins : G7_Pin B2_Pin */
  GPIO_InitStruct.Pin = G7_Pin|B2_Pin;
  GPIO_InitStruct.Mode = GPIO_MODE_AF_PP;
  GPIO_InitStruct.Pull = GPIO_NOPULL;
  GPIO_InitStruct.Speed = GPIO_SPEED_FREQ_LOW;
  GPIO_InitStruct.Alternate = GPIO_AF14_LTDC;
  HAL_GPIO_Init(GPIOD, &GPIO_InitStruct);

  /*Configure GPIO pins : G3_Pin B4_Pin */
  GPIO_InitStruct.Pin = G3_Pin|B4_Pin;
  GPIO_InitStruct.Mode = GPIO_MODE_AF_PP;
  GPIO_InitStruct.Pull = GPIO_NOPULL;
  GPIO_InitStruct.Speed = GPIO_SPEED_FREQ_LOW;
  GPIO_InitStruct.Alternate = GPIO_AF9_LTDC;
  HAL_GPIO_Init(GPIOG, &GPIO_InitStruct);

  /*Configure GPIO pins : LD3_Pin LD4_Pin */
  GPIO_InitStruct.Pin = LD3_Pin|LD4_Pin;
  GPIO_InitStruct.Mode = GPIO_MODE_OUTPUT_PP;
  GPIO_InitStruct.Pull = GPIO_NOPULL;
  GPIO_InitStruct.Speed = GPIO_SPEED_FREQ_LOW;
  HAL_GPIO_Init(GPIOG, &GPIO_InitStruct);

  /*Configure GPIO pins : SDCKE1_Pin SDNE1_Pin */
  GPIO_InitStruct.Pin = SDCKE1_Pin|SDNE1_Pin;
  GPIO_InitStruct.Mode = GPIO_MODE_AF_PP;
  GPIO_InitStruct.Pull = GPIO_NOPULL;
  GPIO_InitStruct.Speed = GPIO_SPEED_FREQ_VERY_HIGH;
  GPIO_InitStruct.Alternate = GPIO_AF12_FMC;
  HAL_GPIO_Init(GPIOB, &GPIO_InitStruct);

  /* EXTI interrupt init*/
  HAL_NVIC_SetPriority(EXTI0_IRQn, 6, 0);
  HAL_NVIC_EnableIRQ(EXTI0_IRQn);

}

/* USER CODE BEGIN 4 */

static void switch_priority(void)
{
	uint8_t switch_priority = 0;

	TaskHandle_t t1,t2;
	UBaseType_t p1,p2;

	portENTER_CRITICAL();
	if(1 == button_pressed) {
		button_pressed = 0;
		switch_priority = 1;
	}
	portEXIT_CRITICAL();

	if(switch_priority) {

		t1 = xRedLedTaskHandle;
		t2 = xGreenLedTaskHandle;

		// get task priorities
		p1 = uxTaskPriorityGet(t1);
		p2 = uxTaskPriorityGet(t2);

		/*  context switch will occur before the function returns
		 *
		 * if the priority being set is higher than the currently executing task
		 * There for the order of changing the priority is important */
		if(xTaskGetCurrentTaskHandle() == t1) {
			// swap priority with task t2
			vTaskPrioritySet(t1, p2);
			vTaskPrioritySet(t2, p1);
		} else {
			vTaskPrioritySet(t1, p2);
			vTaskPrioritySet(t2, p1);
		}
		switch_priority = 0;
	}

}

static void red_led_handler(void *pvParam)
{
	while(1)
	{
		HAL_GPIO_TogglePin(GPIOG, LD4_Pin);
		HAL_Delay(pdMS_TO_TICKS(100));
		switch_priority();
	}
}

static void green_led_handler(void *pvParam)
{
	while(1)
	{
		while(1)
		{
			HAL_GPIO_TogglePin(GPIOG, LD3_Pin);
			HAL_Delay(pdMS_TO_TICKS(1000));
			switch_priority();
		}
	}
}

void button_irq_handler()
{
	traceISR_ENTER();	// instruct segger systemview to capture isr

	button_pressed = 1;

	traceISR_EXIT();
}

/* USER CODE END 4 */

void HAL_TIM_PeriodElapsedCallback(TIM_HandleTypeDef *htim)
{
  if (htim->Instance == TIM6) {
    HAL_IncTick();
  }
}

void Error_Handler(void)
{
  __disable_irq();
  while (1)
  {
  }
}
